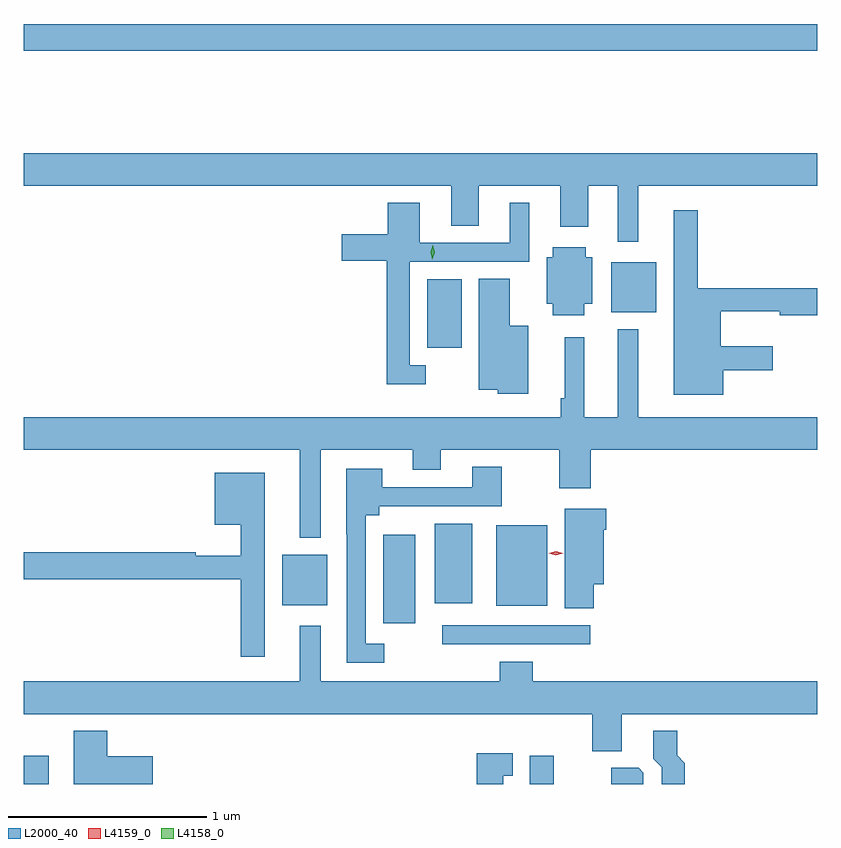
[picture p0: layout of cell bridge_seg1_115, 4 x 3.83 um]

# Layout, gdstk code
import gdstk
lib = gdstk.Library(unit=1e-6, precision=1e-09)
def R(c, l, rs):  # rectangles x0, y0, x1, y1
    for r in rs: c.add(gdstk.rectangle(r[:2], r[2:], *l))
def P(c, l, *ps):  # polygons
    for p in ps: c.add(gdstk.Polygon(p, *l))
L2000_40 = (2000, 40)
L4158_0 = (4158, 0)
L4159_0 = (4159, 0)

bridge_seg1_115 = lib.new_cell('bridge_seg1_115')
R(bridge_seg1_115, L2000_40, [(203.915,568.695,204.04,568.837), (206.465,568.695,206.587,568.837), (206.025,569.4,206.77,569.496), (205.727,569.505,205.888,569.953), (206.297,569.594,206.554,570.001), (205.217,569.597,205.444,569.851), (205.988,569.606,206.176,570.007), (205.949,570.896,206.122,571.24), (206.876,571.073,207.103,571.327), (203.915,572.392,207.915,572.528)])
P(bridge_seg1_115, L2000_40, [(207.013,571.712),(207.915,571.712),(207.915,571.876),(203.915,571.876),(203.915,571.712),(206.069,571.712),(206.069,571.51),(206.209,571.51),(206.209,571.712),(206.621,571.712),(206.621,571.506),(206.761,571.506),(206.761,571.712),(206.909,571.712),(206.909,571.431),(207.013,571.431)],
  [(205.942,570.807),(205.86,570.807),(205.86,571.329),(206.464,571.329),(206.464,571.627),(206.366,571.627),(206.366,571.425),(205.912,571.425),(205.912,571.627),(205.751,571.627),(205.751,571.468),(205.518,571.468),(205.518,571.334),(205.744,571.334),(205.744,570.71),(205.942,570.71)],
  [(207.442,570.782),(207.691,570.782),(207.691,570.904),(207.43,570.904),(207.43,571.079),(207.726,571.079),(207.726,571.06),(207.915,571.06),(207.915,571.196),(207.313,571.196),(207.313,571.588),(207.191,571.588),(207.191,570.659),(207.442,570.659)],
  [(206.74,571.118),(206.782,571.118),(206.782,571.351),(206.748,571.351),(206.748,571.402),(206.582,571.402),(206.582,571.351),(206.552,571.351),(206.552,571.118),(206.582,571.118),(206.582,571.058),(206.74,571.058)],
  [(206.458,571.006),(206.365,571.006),(206.365,571.244),(206.21,571.244),(206.21,570.683),(206.304,570.683),(206.304,570.662),(206.458,570.662)],
  [(205.411,570.38),(205.877,570.38),(205.877,570.281),(206.017,570.281),(206.017,570.38),(206.614,570.38),(206.614,570.186),(206.774,570.186),(206.774,570.38),(207.915,570.38),(207.915,570.544),(207.013,570.544),(207.013,570.988),(206.909,570.988),(206.909,570.544),(206.74,570.544),(206.74,570.949),(206.642,570.949),(206.642,570.64),(206.623,570.64),(206.623,570.544),(203.915,570.544),(203.915,570.38),(205.307,570.38),(205.307,569.936),(205.411,569.936)],
  [(205.732,569.403),(205.638,569.403),(205.638,570.05),(205.708,570.05),(205.708,570.096),(206.325,570.096),(206.325,570.295),(206.177,570.295),(206.177,570.192),(205.723,570.192),(205.723,570.286),(205.541,570.286),(205.541,569.954),(205.542,569.954),(205.542,569.307),(205.732,569.307)],
  [(205.129,570.265),(204.878,570.265),(204.878,570.002),(205.008,570.002),(205.008,569.845),(204.782,569.845),(204.782,569.864),(203.915,569.864),(203.915,569.728),(205.008,569.728),(205.008,569.337),(205.129,569.337)],
  [(206.789,569.702),(206.839,569.702),(206.839,569.978),(206.852,569.978),(206.852,570.082),(206.642,570.082),(206.642,569.581),(206.789,569.581)],
  [(206.929,569.048),(207.915,569.048),(207.915,569.212),(206.48,569.212),(206.48,569.311),(206.315,569.311),(206.315,569.212),(205.411,569.212),(205.411,569.494),(205.307,569.494),(205.307,569.212),(203.915,569.212),(203.915,569.048),(206.782,569.048),(206.782,568.861),(206.929,568.861)],
  [(207.248,568.8),(207.209,568.839),(207.209,568.963),(207.089,568.963),(207.089,568.822),(207.132,568.779),(207.132,568.695),(207.248,568.695)],
  [(204.565,568.834),(204.334,568.834),(204.334,568.963),(204.167,568.963),(204.167,568.695),(204.565,568.695)],
  [(206.332,568.736),(206.38,568.736),(206.38,568.849),(206.198,568.849),(206.198,568.695),(206.332,568.695)],
  [(207.039,568.752),(207.015,568.776),(206.876,568.776),(206.876,568.695),(207.039,568.695)])
P(bridge_seg1_115, L4158_0, [(205.974,571.341),(205.974,571.342),(205.966,571.378),(205.977,571.413),(205.977,571.413),(205.978,571.413),(205.986,571.377),(205.974,571.342)])
P(bridge_seg1_115, L4159_0, [(206.598,569.849),(206.561,569.859),(206.561,569.859),(206.561,569.859),(206.598,569.869),(206.635,569.86),(206.635,569.86),(206.635,569.859)])

lib.write_gds('bridge_seg1_115.gds')
